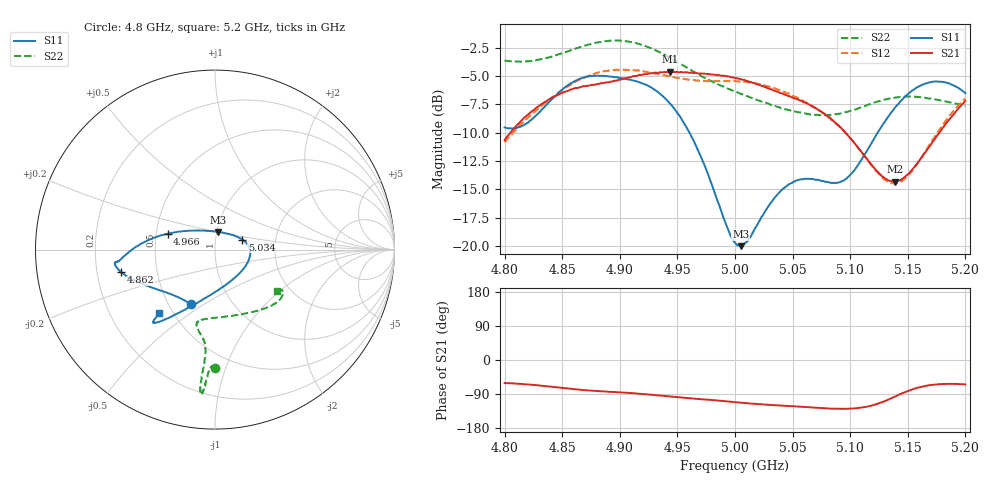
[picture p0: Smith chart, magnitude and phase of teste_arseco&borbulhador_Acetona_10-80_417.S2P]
! Network Analyzer HP8722D
! Hewlett-Packard
! Data name: Linha & Wilkinson
! Saver's name: Rodrigo Anjos
! Comments: Teste da utilização de aquisição
! continua pelo VNA HP8722D
! Time and date: 17/4/2025 17:50
!  Frequency  S11  S21  S12  S22
# HZ  S  MA R 50
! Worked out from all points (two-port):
!   401 points, 4.8 GHz to 5.2 GHz, reference 50 ohm
!   highest |S21| = -4.63 dB at 4.944 GHz (marker M1); lowest = -14.3 dB at 5.139 GHz (marker M2)
!   |S21| within 3 dB of the highest: 4.83 GHz to 5.066 GHz (235.7 MHz wide, 4.76 % of centre); 5.196126 GHz to end of sweep
!   lowest |S11| = -20.0 dB at 5.005 GHz (marker M3), VSWR 1.22, Z = 50.6 + j10.1 ohm
!   |S11| at or under -10 dB: 4.961 GHz to 5.124 GHz (163.3 MHz wide, 3.24 % of centre)
!   |S22| runs from -8.5 to -1.9 dB; largest |S21 - S12| = 0.88
!   S11 on the Smith chart (normalised r, x): 4.8 GHz: 0.64, -0.44; 4.862 GHz: 0.30, -0.11; 4.966 GHz: 0.58, +0.11; 5.034 GHz: 1.35, +0.16; 5.2 GHz: 0.42, -0.39
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4.8e9  0.3336 -113.8  0.293 -60.9  0.2867 -175.1  0.6577 -90.1
4.819e9  0.3477 -133.8  0.3752 -64.2  0.3631 -173.9  0.653 -91.8
4.862e9  0.5374 -166.5  0.498 -77.3  0.5323 -177.2  0.7443 -94.0
4.867e9  0.5496 -168.4  0.5044 -79.0  0.5468 -178.0  0.7573 -94.1
4.9e9  0.5521 -172.9  0.5421 -85.1  0.5981 175.5  0.8054 -95.6
4.934e9  0.4738 -178.9  0.582 -93.8  0.5739 171.8  0.7166 -96.0
4.944e9  0.4231 176.5  0.5871 -96.4  0.5578 171.9  0.6747 -95.7
4.966e9  0.2779 161.5  0.5797 -102.1  0.5367 173.7  0.5798 -95.3
5e9  0.1036 98.3  0.5507 -111.4  0.5347 176.0  0.4808 -99.5
5.005e9  0.09992 81.0  0.5442 -112.5  0.5301 176.0  0.469 -100.7
5.012e9  0.1075 59.0  0.5298 -114.4  0.5267 175.8  0.455 -102.0
5.034e9  0.1624 20.3  0.4838 -119.3  0.4971 174.8  0.4151 -103.7
5.049e9  0.1894 5.0  0.4524 -121.8  0.463 174.1  0.394 -100.0
5.067e9  0.1977 -14.3  0.4138 -125.1  0.416 173.4  0.3799 -90.6
5.086e9  0.1899 -44.7  0.3544 -128.4  0.3544 173.8  0.3809 -76.1
5.097e9  0.1988 -67.3  0.3115 -128.7  0.3116 174.6  0.3907 -67.0
5.134e9  0.3778 -117.1  0.1942 -103.4  0.1906 -156.2  0.4471 -43.0
5.139e9  0.4084 -120.2  0.1923 -96.4  0.189 -148.3  0.452 -40.8
5.151e9  0.4718 -125.1  0.2096 -80.6  0.207 -130.2  0.4563 -36.5
5.17e9  0.5284 -129.5  0.2797 -66.1  0.2854 -112.2  0.447 -32.0
5.185e9  0.5228 -130.9  0.3558 -63.0  0.3682 -107.1  0.4321 -31.2
5.2e9  0.472 -131.1  0.4356 -64.5  0.4477 -106.6  0.4163 -33.5
